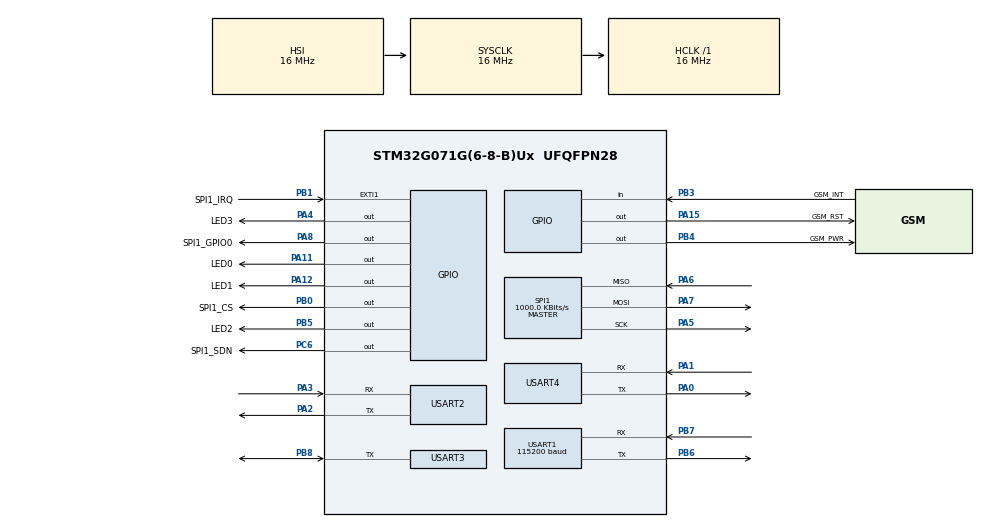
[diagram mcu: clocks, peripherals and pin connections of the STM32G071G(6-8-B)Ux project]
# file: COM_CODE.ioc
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ADC1.Channel-0\#ChannelRegularConversion=ADC_CHANNEL_TEMPSENSOR
ADC1.ChannelTS=ADC_CHANNEL_TEMPSENSOR
ADC1.ClockPrescaler=ADC_CLOCK_SYNC_PCLK_DIV2
ADC1.NbrOfConversionFlag=1
ADC1.OversamplingMode=DISABLE
ADC1.Rank-0\#ChannelRegularConversion=1
ADC1.SamplingTime-0\#ChannelRegularConversion=ADC_SAMPLINGTIME_COMMON_1
ADC1.SamplingTimeCommon1=ADC_SAMPLETIME_160CYCLES_5
ADC1.SamplingTimeCommon2=ADC_SAMPLETIME_160CYCLES_5
ADC1.SelectedChannel=ADC_CHANNEL_TEMPSENSOR
ADC1.master=1
Dma.Request0=USART2_RX
Dma.Request1=USART4_RX
Dma.USART2_RX.0.Direction=DMA_PERIPH_TO_MEMORY
Dma.USART2_RX.0.EventEnable=DISABLE
Dma.USART2_RX.0.Instance=DMA1_Channel1
Dma.USART2_RX.0.MemDataAlignment=DMA_MDATAALIGN_BYTE
Dma.USART2_RX.0.MemInc=DMA_MINC_ENABLE
Dma.USART2_RX.0.Mode=DMA_CIRCULAR
Dma.USART2_RX.0.PeriphDataAlignment=DMA_PDATAALIGN_BYTE
Dma.USART2_RX.0.PeriphInc=DMA_PINC_DISABLE
Dma.USART2_RX.0.Polarity=HAL_DMAMUX_REQ_GEN_RISING
Dma.USART2_RX.0.Priority=DMA_PRIORITY_LOW
Dma.USART2_RX.0.RequestNumber=1
Dma.USART2_RX.0.SignalID=NONE
Dma.USART2_RX.0.SyncEnable=DISABLE
Dma.USART2_RX.0.SyncPolarity=HAL_DMAMUX_SYNC_NO_EVENT
Dma.USART2_RX.0.SyncRequestNumber=1
Dma.USART2_RX.0.SyncSignalID=NONE
Dma.USART4_RX.1.Direction=DMA_PERIPH_TO_MEMORY
Dma.USART4_RX.1.EventEnable=DISABLE
Dma.USART4_RX.1.Instance=DMA1_Channel2
Dma.USART4_RX.1.MemDataAlignment=DMA_MDATAALIGN_BYTE
Dma.USART4_RX.1.MemInc=DMA_MINC_ENABLE
Dma.USART4_RX.1.Mode=DMA_CIRCULAR
Dma.USART4_RX.1.PeriphDataAlignment=DMA_PDATAALIGN_BYTE
Dma.USART4_RX.1.PeriphInc=DMA_PINC_DISABLE
Dma.USART4_RX.1.Polarity=HAL_DMAMUX_REQ_GEN_RISING
Dma.USART4_RX.1.Priority=DMA_PRIORITY_LOW
Dma.USART4_RX.1.RequestNumber=1
Dma.USART4_RX.1.SignalID=NONE
Dma.USART4_RX.1.SyncEnable=DISABLE
Dma.USART4_RX.1.SyncPolarity=HAL_DMAMUX_SYNC_NO_EVENT
Dma.USART4_RX.1.SyncRequestNumber=1
Dma.USART4_RX.1.SyncSignalID=NONE
Mcu.Family=STM32G0
Mcu.Name=STM32G071G(6-8-B)Ux
Mcu.Package=UFQFPN28
NVIC.DMA1_Channel1_IRQn=true\:0\:0\:false\:false\:true\:false\:true\:true
NVIC.DMA1_Channel2_3_IRQn=true\:0\:0\:false\:false\:true\:false\:true\:true
NVIC.EXTI0_1_IRQn=true\:0\:0\:false\:false\:true\:true\:true\:true
PA0.Mode=Asynchronous
PA0.Signal=USART4_TX
PA1.Mode=Asynchronous
PA1.Signal=USART4_RX
PA11\ [PA9].GPIO_Label=LED0
PA11\ [PA9].Signal=GPIO_Output
PA12\ [PA10].GPIO_Label=LED1
PA12\ [PA10].Signal=GPIO_Output
PA13.Mode=Serial_Wire
PA13.Signal=SYS_SWDIO
PA14-BOOT0.Mode=Serial_Wire
PA14-BOOT0.Signal=SYS_SWCLK
PA15.GPIO_Label=GSM_RST
PA15.Signal=GPIO_Output
PA2.Mode=Asynchronous
PA2.Signal=USART2_TX
PA3.Mode=Asynchronous
PA3.Signal=USART2_RX
PA4.GPIO_Label=LED3
PA4.Signal=GPIO_Output
PA5.Mode=Full_Duplex_Master
PA5.Signal=SPI1_SCK
PA6.Mode=Full_Duplex_Master
PA6.Signal=SPI1_MISO
PA7.Mode=Full_Duplex_Master
PA7.Signal=SPI1_MOSI
PA8.GPIO_Label=SPI1_GPIO0
PA8.Signal=GPIO_Output
PB0.GPIO_Label=SPI1_CS
PB0.Signal=GPIO_Output
PB1.GPIO_Label=SPI1_IRQ
PB1.GPIO_ModeDefaultEXTI=GPIO_MODE_IT_FALLING
PB1.Signal=GPXTI1
PB3.GPIO_Label=GSM_INT
PB3.Signal=GPIO_Input
PB4.GPIO_Label=GSM_PWR
PB4.Signal=GPIO_Output
PB5.GPIO_Label=LED2
PB5.Signal=GPIO_Output
PB6.Mode=Asynchronous
PB6.Signal=USART1_TX
PB7.Mode=Asynchronous
PB7.Signal=USART1_RX
PB8.Mode=Half_duplex(single_wire_mode)
PB8.Signal=USART3_TX
PC6.GPIO_Label=SPI1_SDN
PC6.Signal=GPIO_Output
ProjectManager.HeapSize=0x200
ProjectManager.StackSize=0x400
ProjectManager.TargetToolchain=STM32CubeIDE
RCC.ADCFreq_Value=16000000
RCC.AHBFreq_Value=16000000
RCC.CortexFreq_Value=16000000
RCC.EXTERNAL_CLOCK_VALUE=48000
RCC.HCLKFreq_Value=16000000
RCC.HSE_VALUE=8000000
RCC.HSI_VALUE=16000000
RCC.LPUART1CLockSelection=RCC_LPUART1CLKSOURCE_HSI
RCC.LSE_VALUE=32768
RCC.PLLR=RCC_PLLR_DIV8
RCC.SYSCLKFreq_VALUE=16000000
RCC.VCOOutputFreq_Value=128000000
SPI1.BaudRatePrescaler=SPI_BAUDRATEPRESCALER_16
SPI1.CalculateBaudRate=1000.0 KBits/s
SPI1.DataSize=SPI_DATASIZE_8BIT
SPI1.Direction=SPI_DIRECTION_2LINES
SPI1.Mode=SPI_MODE_MASTER
SPI1.VirtualType=VM_MASTER
USART1.BaudRate=115200
USART1.StopBits=STOPBITS_1
USART1.VirtualMode-Asynchronous=VM_ASYNC
USART2.VirtualMode-Asynchronous=VM_ASYNC
USART3.VirtualMode-Half_duplex(single_wire_mode)=VM_ASYNC
USART4.VirtualMode-Asynchronous=VM_ASYNC
VP_ADC1_TempSens_Input.Mode=IN-TempSens
VP_CRC_VS_CRC.Mode=CRC_Activate
board=custom

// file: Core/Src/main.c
/* USER CODE BEGIN Header */
/**
 ******************************************************************************
 * @file           : main.c
 * @brief          : Main program body
 ******************************************************************************
 * @attention
 *
 * Copyright (c) 2022 STMicroelectronics.
 * All rights reserved.
 *
 * This software is licensed under terms that can be found in the LICENSE file
 * in the root directory of this software component.
 * If no LICENSE file comes with this software, it is provided AS-IS.
 *
 ******************************************************************************
 */
/* USER CODE END Header */
#include "main.h"

/* USER CODE BEGIN Includes */

#include "si4463.h"
#include "hq.h"
#include "gsm.h"
#include "gps.h"
#include "boardtrx.h"
/* USER CODE END Includes */

ADC_HandleTypeDef hadc1;

CRC_HandleTypeDef hcrc;

SPI_HandleTypeDef hspi1;

UART_HandleTypeDef huart1;
UART_HandleTypeDef huart2;
UART_HandleTypeDef huart3;
UART_HandleTypeDef huart4;
DMA_HandleTypeDef hdma_usart2_rx;
DMA_HandleTypeDef hdma_usart4_rx;

/* USER CODE BEGIN PV */

#if DEBUG_ENABLE

uint8_t debLed[4] = { 1, 0, 0, 0 };

#endif

// buffer for GPS DMA
uint8_t rxBufGPS;

uint8_t bigBoi[256] = { 0 };

uint8_t hqGotResponse = 0;
uint8_t hqData[32];
uint8_t hqLen;

uint8_t initStatus = 1;

/* USER CODE END PV */

void SystemClock_Config(void);
static void MX_GPIO_Init(void);
static void MX_DMA_Init(void);
static void MX_SPI1_Init(void);
static void MX_USART1_UART_Init(void);
static void MX_USART3_UART_Init(void);
static void MX_USART4_UART_Init(void);
static void MX_USART2_UART_Init(void);
static void MX_CRC_Init(void);
static void MX_ADC1_Init(void);

/* USER CODE BEGIN 0 */

float comTemperature = 0;
float ta;
float tb;

/* USER CODE END 0 */

int main(void) {

    /* MCU Configuration--------------------------------------------------------*/

    /* Reset of all peripherals, Initializes the Flash interface and the Systick. */
    HAL_Init();

    /* Configure the system clock */
    SystemClock_Config();

    /* Initialize all configured peripherals */
    MX_GPIO_Init();
    MX_DMA_Init();
    MX_SPI1_Init();
    MX_USART1_UART_Init();
    MX_USART3_UART_Init();
    MX_USART4_UART_Init();
    MX_USART2_UART_Init();
    MX_CRC_Init();
    MX_ADC1_Init();
    /* USER CODE BEGIN 2 */

    // wait for things to start
    HAL_Delay(500);

    /* TODO LIST ------------------------------------------------------------------*/

    // TODO replace while(1) with error management
    // TODO fix GPS baud rate, or dont change it at all, is there need to ?
    // TODO do GPS init
    // TODO get COM temperature

    /* SI4463 Configuration--------------------------------------------------------*/

    SI4463_StatusTypeDef retVal;
    SI4463_Handle SI4463_Handle = { 0 };

    // configure handle
    SI4463_Handle.spi = &hspi1;
    SI4463_Handle.SDNPort = SPI1_SDN_GPIO_Port;
    SI4463_Handle.SDNPin = SPI1_SDN_Pin;
    SI4463_Handle.CSPort = SPI1_CS_GPIO_Port;
    SI4463_Handle.CSPin = SPI1_CS_Pin;
    SI4463_Handle.GPIO0_Port = SPI1_GPIO0_GPIO_Port;   // required for RTTY only
    SI4463_Handle.GPIO0_Pin = SPI1_GPIO0_Pin;
    SI4463_Handle.freq = SI4463_FREQ_26MHZ;     // change to XIN frequency
    SI4463_Handle.baudDelay = 20;
    SI4463_Handle.power = 0x01;

    // transmit power table, tested for COM
    // 0x20 = 21.5 dBm
    // 0x10 = 15.8 dBm
    // 0x0A = 11.7 dBm
    // 0x09 = 10.8 dBm
    // 0x08 = 9.8 dBm
    // 0x03 = 0.8 dBm
    // 0x02 = -3 dBm
    // 0x01 = -9.7 dBm
    // 0x00 = -41.5 dBm

    // set RTTY config
    SI4463_Handle.config = SI4463_CONFIG_FSK;
    // try to initialise device
    retVal = SI4463_Init(&SI4463_Handle);
    // check if was able to initialise device
    if (retVal != SI4463_OK) {
        initStatus = 0;
    }

    /* GSM Configuration--------------------------------------------------------*/

    GSM_Handle GSM_Handle;
    GSM_Handle.uart = &huart1;
    GSM_Handle.PWRPort = GSM_PWR_GPIO_Port;
    GSM_Handle.PWRPin = GSM_PWR_Pin;
    GSM_Handle.RSTPort = GSM_RST_GPIO_Port;
    GSM_Handle.RSTPin = GSM_RST_Pin;

    if (GSM_Init(&GSM_Handle) == GSM_ERROR) {
        initStatus = 0;
    }

    GSM_Off();

    #if GSM_ENABLED
        GSM_Reset();
        HAL_Delay(1000);
        GSM_On();

        // wait for signal
        while (1) {
            if(GSM_Check_Signal() == GSM_OK){
                uint8_t testText[] = "WASSUP STARTING!";
                GSM_Message_Send(testText, sizeof(testText), 12345678);
                break;
            }
        }

        GSM_Off();
    #endif

    /* GPS Configuration--------------------------------------------------------*/

    HAL_UART_Abort(&huart2);

    if (GPS_init_Uart(&huart2) != HAL_OK) {
        initStatus = 0;
    }

    // does not work if is not aborted before receive, dunno why
    HAL_UART_Abort(&huart2);
    HAL_UART_Receive_DMA(&huart2, &rxBufGPS, 1);

    /* HQ Configuration--------------------------------------------------------*/

    HQ_Handle hqHandle;
    hqHandle.siHandle = &SI4463_Handle;
    hqHandle.uart = &huart4;

    if(HQ_Init(&hqHandle) != HQ_OK){
        initStatus = 0;
    }

    /* USER CODE END 2 */

    /* Infinite loop */
    /* USER CODE BEGIN WHILE */

    uint32_t timer = 0;
    uint32_t ledTimer = 0;
    uint32_t ledDelay = 1000;

    if(!initStatus){
        ledDelay = 100;
    }

    // calculate temperature things
    float x1 = (float) *TEMPSENSOR_CAL1_ADDR;
    float x2 = (float) *TEMPSENSOR_CAL2_ADDR;
    float y1 = (float) TEMPSENSOR_CAL1_TEMP;
    float y2 = (float) TEMPSENSOR_CAL2_TEMP;

    // Simple linear equation y = ax + b based on two points
    ta = (float) ((y2 - y1) / (x2 - x1));
    tb = (float) ((x2 * y1 - x1 * y2) / (x2 - x1));

    HAL_ADC_Start(&hadc1);

    while (1) {

        // quick blink = bad, slow blink = good
        if(ledTimer < HAL_GetTick()){
            ledTimer+= ledDelay;
            HAL_GPIO_TogglePin(LED0_GPIO_Port, LED0_Pin);
        }

        if (timer < HAL_GetTick()) {
            timer += 1000;

            if (HAL_ADC_PollForConversion(&hadc1, 0) == HAL_OK) {
                uint32_t tmpVal = HAL_ADC_GetValue(&hadc1);
                HAL_ADC_Start(&hadc1);
                comTemperature = ta * (float) tmpVal + tb;
            }

            #if DEBUG_ENABLE
                HAL_GPIO_TogglePin(LED0_GPIO_Port, LED0_Pin);
                if (debLed[1]) {
                    HAL_GPIO_TogglePin(LED1_GPIO_Port, LED1_Pin);
                }
                if (debLed[2]) {
                    HAL_GPIO_TogglePin(LED2_GPIO_Port, LED2_Pin);
                }
                if (debLed[3]) {
                    HAL_GPIO_TogglePin(LED3_GPIO_Port, LED3_Pin);
                }

                bigBoi[0] = GPS_IsData();
                if (bigBoi[0] == GPS_OK) {

                    debLed[1] = 1;

                    GPS_GetTime(bigBoi);
                    printf("Time\n\r");
                    printf(bigBoi);
                    printf("\n\r");

                    GPS_GetLat(bigBoi);
                    printf("Lat:");
                    printf(bigBoi);
                    printf("\n\r");

                    printf("Lon:");
                    GPS_GetLon(bigBoi);
                    printf(bigBoi);
                    printf("\n\r");

                    HAL_GPIO_WritePin(LED2_GPIO_Port, LED2_Pin, GPIO_PIN_SET);
                } else {
                    printf("No GPS data %ld \n\r", HAL_GetTick());
                }
            #endif
        }

        // process RX data and anything else we need to do
        HQ_Loop();

        /* USER CODE END WHILE */

    }
}

void SystemClock_Config(void) {
    RCC_OscInitTypeDef RCC_OscInitStruct = { 0 };
    RCC_ClkInitTypeDef RCC_ClkInitStruct = { 0 };

    /** Configure the main internal regulator output voltage
     */
    HAL_PWREx_ControlVoltageScaling(PWR_REGULATOR_VOLTAGE_SCALE1);

    /** Initializes the RCC Oscillators according to the specified parameters
     * in the RCC_OscInitTypeDef structure.
     */
    RCC_OscInitStruct.OscillatorType = RCC_OSCILLATORTYPE_HSI;
    RCC_OscInitStruct.HSIState = RCC_HSI_ON;
    RCC_OscInitStruct.HSIDiv = RCC_HSI_DIV1;
    RCC_OscInitStruct.HSICalibrationValue = RCC_HSICALIBRATION_DEFAULT;
    RCC_OscInitStruct.PLL.PLLState = RCC_PLL_NONE;
    if (HAL_RCC_OscConfig(&RCC_OscInitStruct) != HAL_OK) {
        Error_Handler();
    }

    /** Initializes the CPU, AHB and APB buses clocks
     */
    RCC_ClkInitStruct.ClockType = RCC_CLOCKTYPE_HCLK | RCC_CLOCKTYPE_SYSCLK | RCC_CLOCKTYPE_PCLK1;
    RCC_ClkInitStruct.SYSCLKSource = RCC_SYSCLKSOURCE_HSI;
    RCC_ClkInitStruct.AHBCLKDivider = RCC_SYSCLK_DIV1;
    RCC_ClkInitStruct.APB1CLKDivider = RCC_HCLK_DIV1;

    if (HAL_RCC_ClockConfig(&RCC_ClkInitStruct, FLASH_LATENCY_0) != HAL_OK) {
        Error_Handler();
    }
}

static void MX_ADC1_Init(void) {

    ADC_ChannelConfTypeDef sConfig = { 0 };

    /** Configure the global features of the ADC (Clock, Resolution, Data Alignment and number of conversion)
     */
    hadc1.Instance = ADC1;
    hadc1.Init.ClockPrescaler = ADC_CLOCK_SYNC_PCLK_DIV2;
    hadc1.Init.Resolution = ADC_RESOLUTION_12B;
    hadc1.Init.DataAlign = ADC_DATAALIGN_RIGHT;
    hadc1.Init.ScanConvMode = ADC_SCAN_DISABLE;
    hadc1.Init.EOCSelection = ADC_EOC_SINGLE_CONV;
    hadc1.Init.LowPowerAutoWait = DISABLE;
    hadc1.Init.LowPowerAutoPowerOff = DISABLE;
    hadc1.Init.ContinuousConvMode = DISABLE;
    hadc1.Init.NbrOfConversion = 1;
    hadc1.Init.DiscontinuousConvMode = DISABLE;
    hadc1.Init.ExternalTrigConv = ADC_SOFTWARE_START;
    hadc1.Init.ExternalTrigConvEdge = ADC_EXTERNALTRIGCONVEDGE_NONE;
    hadc1.Init.DMAContinuousRequests = DISABLE;
    hadc1.Init.Overrun = ADC_OVR_DATA_PRESERVED;
    hadc1.Init.SamplingTimeCommon1 = ADC_SAMPLETIME_160CYCLES_5;
    hadc1.Init.SamplingTimeCommon2 = ADC_SAMPLETIME_160CYCLES_5;
    hadc1.Init.OversamplingMode = DISABLE;
    hadc1.Init.TriggerFrequencyMode = ADC_TRIGGER_FREQ_HIGH;
    if (HAL_ADC_Init(&hadc1) != HAL_OK) {
        Error_Handler();
    }

    /** Configure Regular Channel
     */
    sConfig.Channel = ADC_CHANNEL_TEMPSENSOR;
    sConfig.Rank = ADC_REGULAR_RANK_1;
    sConfig.SamplingTime = ADC_SAMPLINGTIME_COMMON_1;
    if (HAL_ADC_ConfigChannel(&hadc1, &sConfig) != HAL_OK) {
        Error_Handler();
    }

}

static void MX_CRC_Init(void) {

    hcrc.Instance = CRC;
    hcrc.Init.DefaultPolynomialUse = DEFAULT_POLYNOMIAL_ENABLE;
    hcrc.Init.DefaultInitValueUse = DEFAULT_INIT_VALUE_ENABLE;
    hcrc.Init.InputDataInversionMode = CRC_INPUTDATA_INVERSION_NONE;
    hcrc.Init.OutputDataInversionMode = CRC_OUTPUTDATA_INVERSION_DISABLE;
    hcrc.InputDataFormat = CRC_INPUTDATA_FORMAT_BYTES;
    if (HAL_CRC_Init(&hcrc) != HAL_OK) {
        Error_Handler();
    }

}

static void MX_SPI1_Init(void) {

    /* SPI1 parameter configuration*/
    hspi1.Instance = SPI1;
    hspi1.Init.Mode = SPI_MODE_MASTER;
    hspi1.Init.Direction = SPI_DIRECTION_2LINES;
    hspi1.Init.DataSize = SPI_DATASIZE_8BIT;
    hspi1.Init.CLKPolarity = SPI_POLARITY_LOW;
    hspi1.Init.CLKPhase = SPI_PHASE_1EDGE;
    hspi1.Init.NSS = SPI_NSS_SOFT;
    hspi1.Init.BaudRatePrescaler = SPI_BAUDRATEPRESCALER_16;
    hspi1.Init.FirstBit = SPI_FIRSTBIT_MSB;
    hspi1.Init.TIMode = SPI_TIMODE_DISABLE;
    hspi1.Init.CRCCalculation = SPI_CRCCALCULATION_DISABLE;
    hspi1.Init.CRCPolynomial = 7;
    hspi1.Init.CRCLength = SPI_CRC_LENGTH_DATASIZE;
    hspi1.Init.NSSPMode = SPI_NSS_PULSE_ENABLE;
    if (HAL_SPI_Init(&hspi1) != HAL_OK) {
        Error_Handler();
    }

}

static void MX_USART1_UART_Init(void) {

    huart1.Instance = USART1;
    huart1.Init.BaudRate = 115200;
    huart1.Init.WordLength = UART_WORDLENGTH_8B;
    huart1.Init.StopBits = UART_STOPBITS_1;
    huart1.Init.Parity = UART_PARITY_NONE;
    huart1.Init.Mode = UART_MODE_TX_RX;
    huart1.Init.HwFlowCtl = UART_HWCONTROL_NONE;
    huart1.Init.OverSampling = UART_OVERSAMPLING_16;
    huart1.Init.OneBitSampling = UART_ONE_BIT_SAMPLE_DISABLE;
    huart1.Init.ClockPrescaler = UART_PRESCALER_DIV1;
    huart1.AdvancedInit.AdvFeatureInit = UART_ADVFEATURE_NO_INIT;
    if (HAL_UART_Init(&huart1) != HAL_OK) {
        Error_Handler();
    }
    if (HAL_UARTEx_SetTxFifoThreshold(&huart1, UART_TXFIFO_THRESHOLD_1_8) != HAL_OK) {
        Error_Handler();
    }
    if (HAL_UARTEx_SetRxFifoThreshold(&huart1, UART_RXFIFO_THRESHOLD_1_8) != HAL_OK) {
        Error_Handler();
    }
    if (HAL_UARTEx_DisableFifoMode(&huart1) != HAL_OK) {
        Error_Handler();
    }

}

static void MX_USART2_UART_Init(void) {

    huart2.Instance = USART2;
    huart2.Init.BaudRate = 9600;
    huart2.Init.WordLength = UART_WORDLENGTH_8B;
    huart2.Init.StopBits = UART_STOPBITS_1;
    huart2.Init.Parity = UART_PARITY_NONE;
    huart2.Init.Mode = UART_MODE_TX_RX;
    huart2.Init.HwFlowCtl = UART_HWCONTROL_NONE;
    huart2.Init.OverSampling = UART_OVERSAMPLING_16;
    huart2.Init.OneBitSampling = UART_ONE_BIT_SAMPLE_DISABLE;
    huart2.Init.ClockPrescaler = UART_PRESCALER_DIV1;
    huart2.AdvancedInit.AdvFeatureInit = UART_ADVFEATURE_NO_INIT;
    if (HAL_UART_Init(&huart2) != HAL_OK) {
        Error_Handler();
    }
    if (HAL_UARTEx_SetTxFifoThreshold(&huart2, UART_TXFIFO_THRESHOLD_1_8) != HAL_OK) {
        Error_Handler();
    }
    if (HAL_UARTEx_SetRxFifoThreshold(&huart2, UART_RXFIFO_THRESHOLD_1_8) != HAL_OK) {
        Error_Handler();
    }
    if (HAL_UARTEx_DisableFifoMode(&huart2) != HAL_OK) {
        Error_Handler();
    }

}

static void MX_USART3_UART_Init(void) {

    huart3.Instance = USART3;
    huart3.Init.BaudRate = 115200;
    huart3.Init.WordLength = UART_WORDLENGTH_8B;
    huart3.Init.StopBits = UART_STOPBITS_1;
    huart3.Init.Parity = UART_PARITY_NONE;
    huart3.Init.Mode = UART_MODE_TX_RX;
    huart3.Init.HwFlowCtl = UART_HWCONTROL_NONE;
    huart3.Init.OverSampling = UART_OVERSAMPLING_16;
    huart3.Init.OneBitSampling = UART_ONE_BIT_SAMPLE_DISABLE;
    huart3.Init.ClockPrescaler = UART_PRESCALER_DIV1;
    huart3.AdvancedInit.AdvFeatureInit = UART_ADVFEATURE_NO_INIT;
    if (HAL_HalfDuplex_Init(&huart3) != HAL_OK) {
        Error_Handler();
    }

}

static void MX_USART4_UART_Init(void) {

    huart4.Instance = USART4;
    huart4.Init.BaudRate = 115200;
    huart4.Init.WordLength = UART_WORDLENGTH_8B;
    huart4.Init.StopBits = UART_STOPBITS_1;
    huart4.Init.Parity = UART_PARITY_NONE;
    huart4.Init.Mode = UART_MODE_TX_RX;
    huart4.Init.HwFlowCtl = UART_HWCONTROL_NONE;
    huart4.Init.OverSampling = UART_OVERSAMPLING_16;
    huart4.Init.OneBitSampling = UART_ONE_BIT_SAMPLE_DISABLE;
    huart4.Init.ClockPrescaler = UART_PRESCALER_DIV1;
    huart4.AdvancedInit.AdvFeatureInit = UART_ADVFEATURE_NO_INIT;
    if (HAL_UART_Init(&huart4) != HAL_OK) {
        Error_Handler();
    }

}

static void MX_DMA_Init(void) {

    /* DMA controller clock enable */
    __HAL_RCC_DMA1_CLK_ENABLE();

    /* DMA interrupt init */
    /* DMA1_Channel1_IRQn interrupt configuration */
    HAL_NVIC_SetPriority(DMA1_Channel1_IRQn, 0, 0);
    HAL_NVIC_EnableIRQ(DMA1_Channel1_IRQn);
    /* DMA1_Channel2_3_IRQn interrupt configuration */
    HAL_NVIC_SetPriority(DMA1_Channel2_3_IRQn, 0, 0);
    HAL_NVIC_EnableIRQ(DMA1_Channel2_3_IRQn);

}

static void MX_GPIO_Init(void) {
    GPIO_InitTypeDef GPIO_InitStruct = { 0 };

    /* GPIO Ports Clock Enable */
    __HAL_RCC_GPIOA_CLK_ENABLE();
    __HAL_RCC_GPIOB_CLK_ENABLE();
    __HAL_RCC_GPIOC_CLK_ENABLE();

    /*Configure GPIO pin Output Level */
    HAL_GPIO_WritePin(GPIOA, LED3_Pin | SPI1_GPIO0_Pin | LED0_Pin | LED1_Pin | GSM_RST_Pin, GPIO_PIN_RESET);

    /*Configure GPIO pin Output Level */
    HAL_GPIO_WritePin(GPIOB, SPI1_CS_Pin | GSM_PWR_Pin | LED2_Pin, GPIO_PIN_RESET);

    /*Configure GPIO pin Output Level */
    HAL_GPIO_WritePin(SPI1_SDN_GPIO_Port, SPI1_SDN_Pin, GPIO_PIN_RESET);

    /*Configure GPIO pins : LED3_Pin SPI1_GPIO0_Pin LED0_Pin LED1_Pin
     GSM_RST_Pin */
    GPIO_InitStruct.Pin = LED3_Pin | SPI1_GPIO0_Pin | LED0_Pin | LED1_Pin | GSM_RST_Pin;
    GPIO_InitStruct.Mode = GPIO_MODE_OUTPUT_PP;
    GPIO_InitStruct.Pull = GPIO_NOPULL;
    GPIO_InitStruct.Speed = GPIO_SPEED_FREQ_LOW;
    HAL_GPIO_Init(GPIOA, &GPIO_InitStruct);

    /*Configure GPIO pins : SPI1_CS_Pin GSM_PWR_Pin LED2_Pin */
    GPIO_InitStruct.Pin = SPI1_CS_Pin | GSM_PWR_Pin | LED2_Pin;
    GPIO_InitStruct.Mode = GPIO_MODE_OUTPUT_PP;
    GPIO_InitStruct.Pull = GPIO_NOPULL;
    GPIO_InitStruct.Speed = GPIO_SPEED_FREQ_LOW;
    HAL_GPIO_Init(GPIOB, &GPIO_InitStruct);

    /*Configure GPIO pin : SPI1_IRQ_Pin */
    GPIO_InitStruct.Pin = SPI1_IRQ_Pin;
    GPIO_InitStruct.Mode = GPIO_MODE_IT_FALLING;
    GPIO_InitStruct.Pull = GPIO_NOPULL;
    HAL_GPIO_Init(SPI1_IRQ_GPIO_Port, &GPIO_InitStruct);

    /*Configure GPIO pin : SPI1_SDN_Pin */
    GPIO_InitStruct.Pin = SPI1_SDN_Pin;
    GPIO_InitStruct.Mode = GPIO_MODE_OUTPUT_PP;
    GPIO_InitStruct.Pull = GPIO_NOPULL;
    GPIO_InitStruct.Speed = GPIO_SPEED_FREQ_LOW;
    HAL_GPIO_Init(SPI1_SDN_GPIO_Port, &GPIO_InitStruct);

    /*Configure GPIO pin : GSM_INT_Pin */
    GPIO_InitStruct.Pin = GSM_INT_Pin;
    GPIO_InitStruct.Mode = GPIO_MODE_INPUT;
    GPIO_InitStruct.Pull = GPIO_NOPULL;
    HAL_GPIO_Init(GSM_INT_GPIO_Port, &GPIO_InitStruct);

    /* EXTI interrupt init*/
    HAL_NVIC_SetPriority(EXTI0_1_IRQn, 0, 0);
    HAL_NVIC_EnableIRQ(EXTI0_1_IRQn);

}

/* USER CODE BEGIN 4 */

void HAL_GPIO_EXTI_Falling_Callback(uint16_t GPIO_Pin) {
    if (GPIO_Pin == SPI1_IRQ_Pin) {
        HQ_SI_RX_CallBack();
    }
}

void HAL_UART_RxCpltCallback(UART_HandleTypeDef *huart) {
    if (huart == &huart2) {
        GPS_Receive(rxBufGPS);
    }
    if (huart == &huart4) {
        BOARDTRX_UART_RX_CB();
    }
}

void HAL_UART_ErrorCallback(UART_HandleTypeDef *huart) {
    if (huart == &huart2) {
        HAL_UART_Receive_DMA(&huart2, &rxBufGPS, 1);
    }
}

// for printf
int __io_putchar(int ch) {
    /* Place your implementation of fputc here */
    /* e.g. write a character to the USART1 and Loop until the end of transmission */
    HAL_UART_Transmit(&huart3, (uint8_t*) &ch, 1, 0xFFFF);

    return ch;
}

/* USER CODE END 4 */

void Error_Handler(void) {
    __disable_irq();
    while (1) {
    }
}
